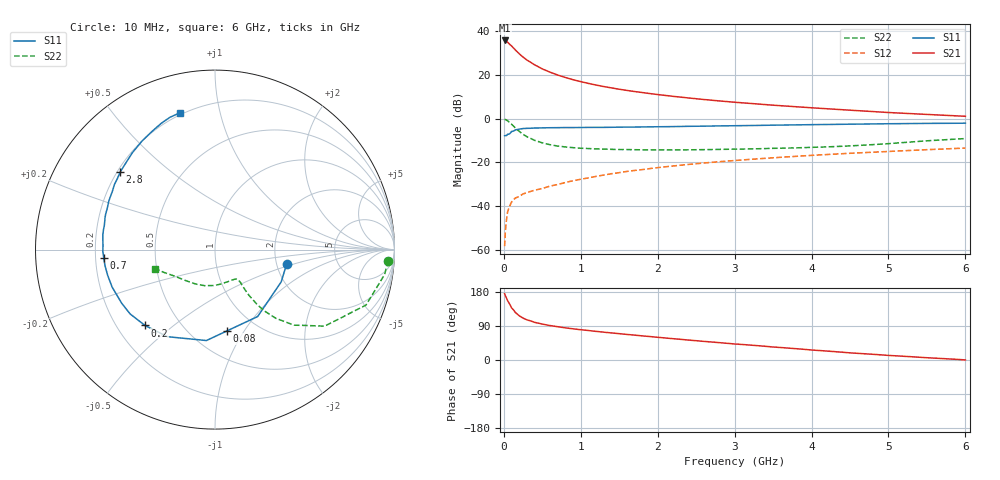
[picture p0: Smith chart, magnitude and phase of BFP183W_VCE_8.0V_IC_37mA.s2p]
! Infineon Technologies  Discrete & RF Semiconductors
! BFP183W
! VCE =  8.0 V,  IC =  37 mA
! Common Emitter S-Parameters:  Jan 2017
# GHz  S  MA  R  50
!  f  S11  S21  S12  S22
! GHz  MAG  ANG  MAG  ANG  MAG  ANG  MAG  ANG
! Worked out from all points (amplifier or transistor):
!   77 points, 10 MHz to 6 GHz, reference 50 ohm
!   highest |S21| = 35.8 dB at 10 MHz (marker M1)
!   |S21| within 3 dB of that: start of sweep to 113.7 MHz
!   unconditionally stable (mu >= 1): 885.9 MHz to 3.375 GHz
!   at 130 MHz: K = 0.32, MSG = 34.6 dB, |S12| = -37.1 dB
!   at 2.2 GHz: K = 1.06, MAG = 14.5 dB, |S12| = -21.7 dB
!   at 6 GHz: K = 0.85, MSG = 7.3 dB, |S12| = -13.5 dB
!   S11 on the Smith chart (normalised r, x): 10 MHz: 2.28, -0.43; 80 MHz: 0.73, -0.84; 200 MHz: 0.32, -0.40; 700 MHz: 0.23, -0.04; 2.8 GHz: 0.21, +0.34; 6 GHz: 0.19, +0.76
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0.01  0.4074 -11.1  61.78 175.0  0.0012 83.9  0.9662 -3.7
0.02  0.4104 -26.0  60.95 169.5  0.0026 91.1  0.9554 -8.3
0.05  0.4422 -57.5  56.27 156.0  0.0074 70.3  0.8961 -20.2
0.08  0.458 -81.7  49.69 145.9  0.0103 65.6  0.799 -28.4
0.1  0.5089 -95.4  46.36 137.7  0.0123 63.7  0.7451 -34.9
0.15  0.5527 -118.6  37.43 125.4  0.0152 52.8  0.6095 -43.7
0.2  0.5752 -132.7  30.62 116.7  0.0165 51.3  0.5108 -48.5
0.25  0.5933 -142.8  25.7 110.5  0.0189 48.8  0.4382 -51.2
0.3  0.5996 -150.0  21.98 106.0  0.0202 49.7  0.3857 -52.5
0.4  0.6101 -160.0  17.03 99.3  0.023 52.4  0.3181 -53.4
0.5  0.6149 -166.5  13.78 94.7  0.0251 53.1  0.2789 -53.2
0.6  0.6194 -171.7  11.61 90.9  0.0285 55.6  0.253 -52.9
0.7  0.6215 -175.6  9.972 87.8  0.031 58.2  0.2357 -52.3
0.9  0.6243 177.8  7.786 82.3  0.0379 60.8  0.2166 -52.6
1.1  0.6304 172.4  6.409 77.8  0.044 61.9  0.2065 -53.4
1.5  0.6383 163.7  4.716 69.5  0.058 63.5  0.1965 -57.8
2.1  0.6546 152.2  3.402 58.1  0.079 62.6  0.1922 -69.6
2.8  0.6823 140.8  2.547 45.8  0.1032 59.8  0.1976 -87.7
3.1  0.6917 136.2  2.304 40.9  0.1132 58.1  0.2012 -95.7
4.1  0.7317 122.7  1.73 25.0  0.1474 52.1  0.2225 -122.4
5.1  0.767 112.2  1.354 11.0  0.1806 45.8  0.2757 -148.4
6  0.7867 104.5  1.132 0.2  0.2119 39.6  0.3498 -162.3
